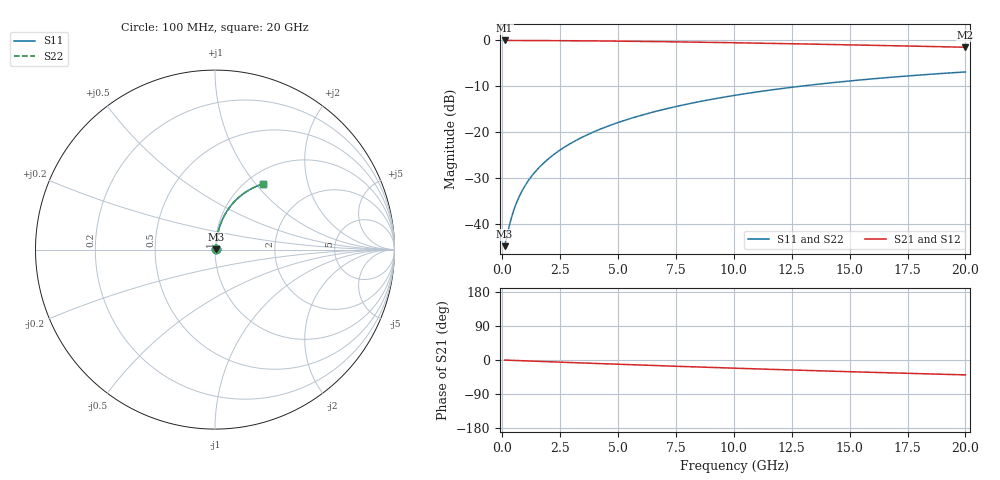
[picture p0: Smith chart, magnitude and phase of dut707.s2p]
! Touchstone file exported from HFSS 2024.1.0
!  File:  C:/UserFiles/LocalFiles/RDL_TSV_Batchsim/temp_RDL_top_707_1779849984.aedt
!  Generated:  10:48:58 AM May 27, 2026
!  Design:  RDL_top
!  Project:  temp_RDL_top_707_1779849984
!  Setup:  Setup1
!  Solution:  Sweep
! Variables:
!  dtsv = 10.80580581um
!  hbump = 3um
!  htsv = 98.03um
!  ldown = 100um
!  lrdl = 461um
!  p = 40
!  p1 = 55.7um
!  rhole = 1um
!  t = 450um
!  tdown = 3.915915916um
!  trdl = 2.31um
!  wdown = 15.38538539um
!  wrdl = 14.32um
# GHz S MA R 50.000000
! Terminal data exported
! Port[1] = Box2_T1
! Port[2] = Box2_T2
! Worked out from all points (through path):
!   200 points, 100 MHz to 20 GHz, reference 50 ohm
!   highest |S21| = -0.04 dB at 100 MHz (marker M1); lowest = -1.5 dB at 20 GHz (marker M2)
!   group delay of S21, straight-line fit = 5.45 ps
!   lowest |S11| = -44.8 dB at 100 MHz (marker M3), VSWR 1.01, Z = 50.5 + j0.269 ohm
!   |S11| at or under -10 dB: start of sweep to 12.87 GHz
!   |S22| runs from -44.8 to -6.9 dB; largest |S21 - S12| = 2.5e-15
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0.1  0.005764 27.5  0.9949 -0.2  0.9949 -0.2  0.005764 27.5
! Gamma 0 0 0 0
! Port Impedance 50 0 50 0
0.3  0.009543 56.4  0.9947 -0.7  0.9947 -0.7  0.009543 56.4
0.4  0.01187 62.8  0.9946 -0.9  0.9946 -0.9  0.01187 62.8
0.5  0.01428 67.0  0.9944 -1.2  0.9944 -1.2  0.01428 67.0
0.6  0.01673 69.9  0.9943 -1.4  0.9943 -1.4  0.01673 69.9
0.7  0.01919 72.0  0.9941 -1.6  0.9941 -1.6  0.01919 72.0
0.9  0.02414 74.8  0.9937 -2.1  0.9937 -2.1  0.02414 74.8
1.2  0.03159 77.3  0.9931 -2.8  0.9931 -2.8  0.03159 77.3
1.4  0.03657 78.3  0.9927 -3.2  0.9927 -3.2  0.03657 78.3
1.7  0.04406 79.3  0.992 -3.9  0.992 -3.9  0.04406 79.3
2.2  0.0566 80.1  0.9906 -5.0  0.9906 -5.0  0.0566 80.1
2.8  0.07171 80.4  0.9886 -6.4  0.9886 -6.4  0.07171 80.4
3.5  0.0894 80.2  0.9858 -7.9  0.9858 -7.9  0.08941 80.2
4.2  0.1071 79.6  0.9825 -9.5  0.9825 -9.5  0.1071 79.6
5  0.1274 78.7  0.9781 -11.2  0.9781 -11.2  0.1274 78.7
5.9  0.1501 77.5  0.9724 -13.2  0.9724 -13.2  0.1502 77.5
6.8  0.1727 76.2  0.9662 -15.1  0.9662 -15.1  0.1728 76.2
8.4  0.2123 73.6  0.9537 -18.4  0.9537 -18.4  0.2124 73.6
10.1  0.2532 70.6  0.939 -21.8  0.939 -21.8  0.2532 70.6
13.4  0.3276 64.8  0.9075 -28.0  0.9075 -28.0  0.3277 64.8
16.7  0.3942 59.2  0.8739 -33.9  0.8739 -33.9  0.3943 59.2
20  0.4524 53.9  0.8396 -39.2  0.8396 -39.2  0.4525 53.9
